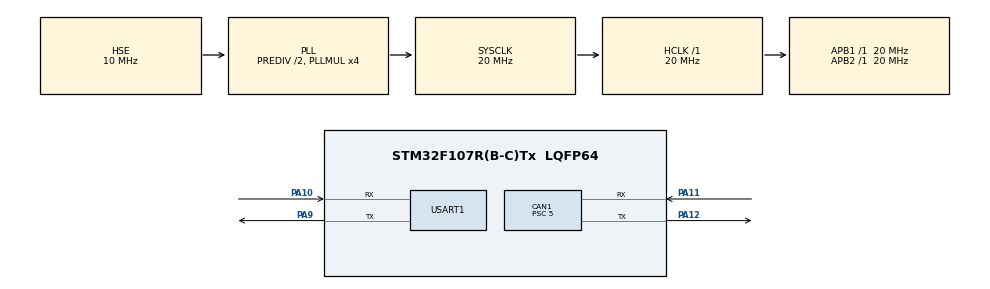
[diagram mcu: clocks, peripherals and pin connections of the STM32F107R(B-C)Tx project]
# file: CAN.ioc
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CAN1.BS1=CAN_BS1_13TQ
CAN1.BS2=CAN_BS2_2TQ
CAN1.CalculateBaudRate=250000
CAN1.CalculateTimeBit=4000.00
CAN1.CalculateTimeQuantum=250.0
CAN1.Prescaler=5
CAN1.SJW=CAN_SJW_4TQ
Mcu.Family=STM32F1
Mcu.Name=STM32F107R(B-C)Tx
Mcu.Package=LQFP64
NVIC.CAN1_RX0_IRQn=true\:0\:0\:false\:false\:true\:true\:true
NVIC.CAN1_RX1_IRQn=true\:0\:0\:false\:false\:true\:true\:true
NVIC.CAN1_TX_IRQn=true\:0\:0\:false\:false\:true\:true\:true
NVIC.PriorityGroup=NVIC_PRIORITYGROUP_4
PA10.Mode=Asynchronous
PA10.Signal=USART1_RX
PA11.Mode=CAN_Activate
PA11.Signal=CAN1_RX
PA12.Mode=CAN_Activate
PA12.Signal=CAN1_TX
PA9.Mode=Asynchronous
PA9.Signal=USART1_TX
PD0-OSC_IN.Mode=HSE-External-Oscillator
PD0-OSC_IN.Signal=RCC_OSC_IN
PD1-OSC_OUT.Mode=HSE-External-Oscillator
PD1-OSC_OUT.Signal=RCC_OSC_OUT
ProjectManager.HeapSize=0x200
ProjectManager.StackSize=0x400
ProjectManager.TargetToolchain=STM32CubeIDE
RCC.AHBFreq_Value=20000000
RCC.APB1Freq_Value=20000000
RCC.APB1TimFreq_Value=20000000
RCC.APB2Freq_Value=20000000
RCC.APB2TimFreq_Value=20000000
RCC.HCLKFreq_Value=20000000
RCC.HSEDivPLL=RCC_HSE_PREDIV_DIV2
RCC.HSE_VALUE=10000000
RCC.PLLSourceVirtual=RCC_PLLSOURCE_HSE
RCC.SYSCLKFreq_VALUE=20000000
RCC.SYSCLKSource=RCC_SYSCLKSOURCE_PLLCLK
RCC.USBFreq_Value=13333333.333333334
USART1.VirtualMode=VM_ASYNC
VP_SYS_VS_ND.Mode=No_Debug
board=custom

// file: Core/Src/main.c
/* USER CODE BEGIN Header */
/**
  ******************************************************************************
  * @file           : main.c
  * @brief          : Main program body
  ******************************************************************************
  * @attention
  *
  * <h2><center>&copy; Copyright (c) 2020 STMicroelectronics.
  * All rights reserved.</center></h2>
  *
  * This software component is licensed by ST under BSD 3-Clause license,
  * the "License"; You may not use this file except in compliance with the
  * License. You may obtain a copy of the License at:
  *                        opensource.org/licenses/BSD-3-Clause
  *
  ******************************************************************************
  */
/* USER CODE END Header */
#include "main.h"

/* USER CODE BEGIN Includes */
#include "stdint.h"
#include "stdlib.h"
#include "string.h"
#include "stdbool.h"

/* USER CODE END Includes */

CAN_HandleTypeDef hcan1;

UART_HandleTypeDef huart1;

/* USER CODE BEGIN PV */

CAN_RxHeaderTypeDef   RxHeader;
CAN_TxHeaderTypeDef   TxHeader;
uint32_t              TxMailbox;

/* USER CODE END PV */

void SystemClock_Config(void);
static void MX_GPIO_Init(void);
static void MX_CAN1_Init(void);
static void MX_USART1_UART_Init(void);
/* USER CODE BEGIN PFP */

void CAN_Filter_Init(void);
bool CANSendFrame(unsigned long id, unsigned char len, const unsigned char *buf, bool wait_sent);
bool CANGetFrame(unsigned long* id, unsigned char* len, unsigned char *buf);

/* USER CODE END PFP */

int main(void)
{

  /* MCU Configuration--------------------------------------------------------*/

  /* Reset of all peripherals, Initializes the Flash interface and the Systick. */
  HAL_Init();

  /* Configure the system clock */
  SystemClock_Config();

  /* Initialize all configured peripherals */
  MX_GPIO_Init();
  MX_CAN1_Init();
  MX_USART1_UART_Init();
  /* USER CODE BEGIN 2 */
  CAN_Filter_Init();
  HAL_CAN_Start(&hcan1);
  HAL_Delay(2000);
  HAL_UART_Transmit(&huart1,"CAN_MODULE\n",12,100);

  /* USER CODE END 2 */

  /* Infinite loop */
  /* USER CODE BEGIN WHILE */
  unsigned long id;
  unsigned char len;
  unsigned char buf[100];
  unsigned char tt[100];
  while (1)
  {
    /* USER CODE END WHILE */

    /* USER CODE BEGIN 3 */
	  if(CANGetFrame(&id, &len, buf))
	  {
		  sprintf(tt,"ID:%d,LEN:%d",id, len);
		  HAL_UART_Transmit(&huart1,tt,strlen(tt),100);
		  HAL_UART_Transmit(&huart1,buf,len,100);
	  }

	  HAL_Delay(1000);
  }
  /* USER CODE END 3 */
}

void SystemClock_Config(void)
{
  RCC_OscInitTypeDef RCC_OscInitStruct = {0};
  RCC_ClkInitTypeDef RCC_ClkInitStruct = {0};

  /** Initializes the RCC Oscillators according to the specified parameters
  * in the RCC_OscInitTypeDef structure.
  */
  RCC_OscInitStruct.OscillatorType = RCC_OSCILLATORTYPE_HSE;
  RCC_OscInitStruct.HSEState = RCC_HSE_ON;
  RCC_OscInitStruct.HSEPredivValue = RCC_HSE_PREDIV_DIV2;
  RCC_OscInitStruct.HSIState = RCC_HSI_ON;
  RCC_OscInitStruct.Prediv1Source = RCC_PREDIV1_SOURCE_HSE;
  RCC_OscInitStruct.PLL.PLLState = RCC_PLL_ON;
  RCC_OscInitStruct.PLL.PLLSource = RCC_PLLSOURCE_HSE;
  RCC_OscInitStruct.PLL.PLLMUL = RCC_PLL_MUL4;
  RCC_OscInitStruct.PLL2.PLL2State = RCC_PLL_NONE;
  if (HAL_RCC_OscConfig(&RCC_OscInitStruct) != HAL_OK)
  {
    Error_Handler();
  }
  /** Initializes the CPU, AHB and APB buses clocks
  */
  RCC_ClkInitStruct.ClockType = RCC_CLOCKTYPE_HCLK|RCC_CLOCKTYPE_SYSCLK
                              |RCC_CLOCKTYPE_PCLK1|RCC_CLOCKTYPE_PCLK2;
  RCC_ClkInitStruct.SYSCLKSource = RCC_SYSCLKSOURCE_PLLCLK;
  RCC_ClkInitStruct.AHBCLKDivider = RCC_SYSCLK_DIV1;
  RCC_ClkInitStruct.APB1CLKDivider = RCC_HCLK_DIV1;
  RCC_ClkInitStruct.APB2CLKDivider = RCC_HCLK_DIV1;

  if (HAL_RCC_ClockConfig(&RCC_ClkInitStruct, FLASH_LATENCY_0) != HAL_OK)
  {
    Error_Handler();
  }
  /** Configure the Systick interrupt time
  */
  __HAL_RCC_PLLI2S_ENABLE();
}

static void MX_CAN1_Init(void)
{

  hcan1.Instance = CAN1;
  hcan1.Init.Prescaler = 5;
  hcan1.Init.Mode = CAN_MODE_NORMAL;
  hcan1.Init.SyncJumpWidth = CAN_SJW_4TQ;
  hcan1.Init.TimeSeg1 = CAN_BS1_13TQ;
  hcan1.Init.TimeSeg2 = CAN_BS2_2TQ;
  hcan1.Init.TimeTriggeredMode = DISABLE;
  hcan1.Init.AutoBusOff = DISABLE;
  hcan1.Init.AutoWakeUp = DISABLE;
  hcan1.Init.AutoRetransmission = DISABLE;
  hcan1.Init.ReceiveFifoLocked = DISABLE;
  hcan1.Init.TransmitFifoPriority = DISABLE;
  if (HAL_CAN_Init(&hcan1) != HAL_OK)
  {
    Error_Handler();
  }

}

static void MX_USART1_UART_Init(void)
{

  huart1.Instance = USART1;
  huart1.Init.BaudRate = 115200;
  huart1.Init.WordLength = UART_WORDLENGTH_8B;
  huart1.Init.StopBits = UART_STOPBITS_1;
  huart1.Init.Parity = UART_PARITY_NONE;
  huart1.Init.Mode = UART_MODE_TX_RX;
  huart1.Init.HwFlowCtl = UART_HWCONTROL_NONE;
  huart1.Init.OverSampling = UART_OVERSAMPLING_16;
  if (HAL_UART_Init(&huart1) != HAL_OK)
  {
    Error_Handler();
  }

}

static void MX_GPIO_Init(void)
{

  /* GPIO Ports Clock Enable */
  __HAL_RCC_GPIOD_CLK_ENABLE();
  __HAL_RCC_GPIOA_CLK_ENABLE();

}

/* USER CODE BEGIN 4 */
void CAN_Filter_Init(void)
{

  CAN_FilterTypeDef canFilterConfig;
	canFilterConfig.FilterBank=1;
	canFilterConfig.FilterMode = CAN_FILTERMODE_IDMASK;
	canFilterConfig.FilterScale = CAN_FILTERSCALE_32BIT;
	canFilterConfig.FilterIdHigh = 0x0000;
	canFilterConfig.FilterIdLow = 0x0000;
	canFilterConfig.FilterMaskIdHigh = 0x0000 << 5;
	canFilterConfig.FilterMaskIdLow = 0x0000;
	canFilterConfig.FilterFIFOAssignment = 0;
	canFilterConfig.FilterActivation = CAN_FILTER_ENABLE;

	HAL_CAN_ConfigFilter(&hcan1, &canFilterConfig);

}

bool CANSendFrame(unsigned long id, unsigned char len, const unsigned char *buf, bool wait_sent)
{
	if(HAL_CAN_GetTxMailboxesFreeLevel(&hcan1)>0)
	{
	 TxHeader.ExtId = id;
     TxHeader.RTR = CAN_RTR_DATA;
     TxHeader.IDE = CAN_ID_EXT;
     TxHeader.DLC = len;
     TxHeader.TransmitGlobalTime = DISABLE;
     HAL_CAN_AddTxMessage(&hcan1, &TxHeader, (uint8_t*)buf, &TxMailbox);
     return true;
	}
	return false;
}

bool CANGetFrame(unsigned long* id, unsigned char* len, unsigned char *buf)
{
	 if(HAL_CAN_GetRxFifoFillLevel(&hcan1,CAN_RX_FIFO0)>0)
	 {
		 HAL_CAN_GetRxMessage(&hcan1, CAN_RX_FIFO0, &RxHeader, buf);
		 *len=RxHeader.DLC;
		 *id=RxHeader.ExtId;
		 return true;
	 }
	 else if(HAL_CAN_GetRxFifoFillLevel(&hcan1,CAN_RX_FIFO1)>0)
	 {
		 HAL_CAN_GetRxMessage(&hcan1, CAN_RX_FIFO0, &RxHeader, buf);
		 *len=RxHeader.DLC;
		 *id=RxHeader.ExtId;
		 return true;
	 }

	 return false;
}

/* USER CODE END 4 */

void Error_Handler(void)
{
}

/************************ (C) COPYRIGHT STMicroelectronics *****END OF FILE****/
